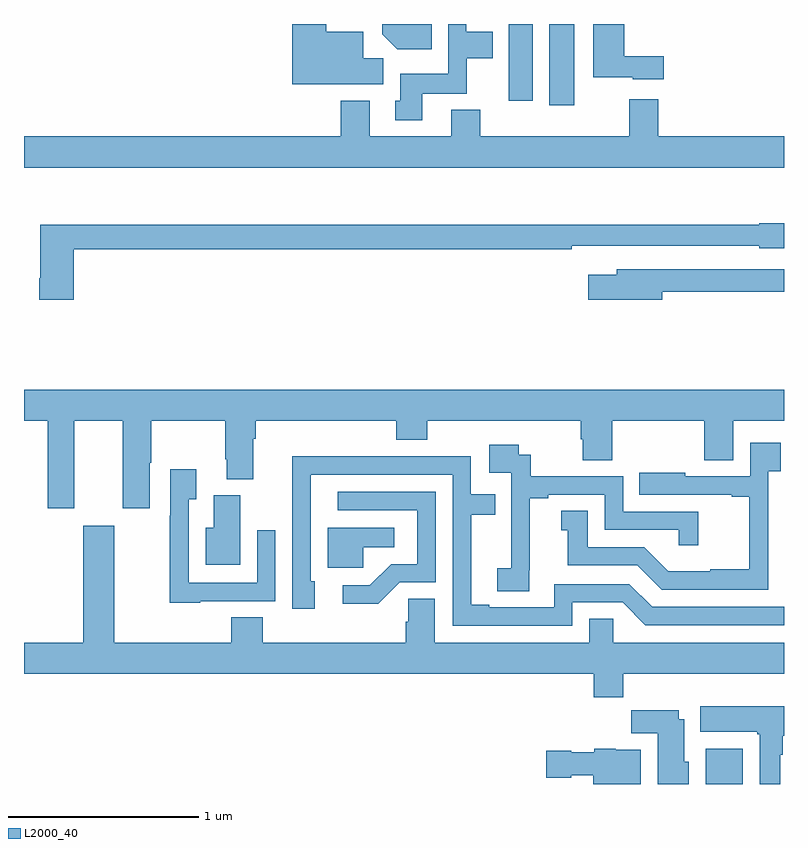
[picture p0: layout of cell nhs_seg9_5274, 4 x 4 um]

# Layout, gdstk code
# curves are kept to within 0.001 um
import gdstk
lib = gdstk.Library(unit=1e-6, precision=1e-09)
def R(c, l, rs):  # rectangles x0, y0, x1, y1
    for r in rs: c.add(gdstk.rectangle(r[:2], r[2:], *l))
def P(c, l, *ps):  # polygons
    for p in ps: c.add(gdstk.Polygon(p, *l))
L2000_40 = (2000, 40)

nhs_seg9_5274 = lib.new_cell('nhs_seg9_5274')
R(nhs_seg9_5274, L2000_40, [(420.587,1202.5,420.784,1202.686), (419.765,1206.072,419.896,1206.5), (419.552,1206.096,419.677,1206.5)])
P(nhs_seg9_5274, L2000_40, [(418.891,1206.32),(418.786,1206.32),(418.786,1206.46),(418.59,1206.46),(418.59,1206.5),(418.412,1206.5),(418.412,1206.182),(418.891,1206.182)],
  [(419.095,1206.134),(419.331,1206.134),(419.331,1206.32),(419.467,1206.32),(419.467,1206.46),(419.328,1206.46),(419.328,1206.5),(419.232,1206.5),(419.232,1206.238),(418.979,1206.238),(418.979,1206.096),(418.955,1206.096),(418.955,1205.994),(419.095,1205.994)],
  [(419.147,1206.5),(418.886,1206.5),(418.886,1206.446),(418.964,1206.368),(419.147,1206.368)],
  [(420.367,1206.331),(420.158,1206.331),(420.158,1206.5),(419.996,1206.5),(419.996,1206.221),(420.204,1206.221),(420.204,1206.209),(420.367,1206.209)],
  [(421,1205.908),(420.338,1205.908),(420.338,1206.103),(420.185,1206.103),(420.185,1205.908),(419.402,1205.908),(419.402,1206.049),(419.249,1206.049),(419.249,1205.908),(418.819,1205.908),(418.819,1206.097),(418.667,1206.097),(418.667,1205.908),(417,1205.908),(417,1205.744),(421,1205.744)],
  [(417.263,1205.314),(419.882,1205.314),(419.882,1205.334),(420.87,1205.334),(420.87,1205.321),(421,1205.321),(421,1205.451),(420.87,1205.451),(420.87,1205.443),(417.085,1205.443),(417.085,1205.161),(417.08,1205.161),(417.08,1205.049),(417.263,1205.049)],
  [(420.358,1205.092),(421,1205.092),(421,1205.208),(420.119,1205.208),(420.119,1205.179),(419.97,1205.179),(419.97,1205.05),(420.358,1205.05)],
  [(417.265,1204.412),(417.521,1204.412),(417.521,1203.951),(417.661,1203.951),(417.661,1204.19),(417.669,1204.19),(417.669,1204.412),(418.06,1204.412),(418.06,1204.21),(418.067,1204.21),(418.067,1204.105),(418.207,1204.105),(418.207,1204.316),(418.22,1204.316),(418.22,1204.412),(418.958,1204.412),(418.958,1204.313),(419.123,1204.313),(419.123,1204.412),(419.93,1204.412),(419.93,1204.314),(419.942,1204.314),(419.942,1204.204),(420.095,1204.204),(420.095,1204.412),(420.581,1204.412),(420.581,1204.204),(420.733,1204.204),(420.733,1204.412),(421,1204.412),(421,1204.576),(417,1204.576),(417,1204.412),(417.125,1204.412),(417.125,1203.951),(417.265,1203.951)],
  [(420.918,1204.145),(420.983,1204.145),(420.983,1204.297),(420.822,1204.297),(420.822,1204.119),(420.481,1204.119),(420.481,1204.138),(420.238,1204.138),(420.238,1204.023),(420.725,1204.023),(420.725,1204.011),(420.817,1204.011),(420.817,1203.631),(420.611,1203.631),(420.611,1203.619),(420.392,1203.619),(420.264,1203.747),(419.968,1203.747),(419.968,1203.938),(419.828,1203.938),(419.828,1203.835),(419.861,1203.835),(419.861,1203.651),(420.228,1203.651),(420.357,1203.522),(420.918,1203.522)],
  [(419.66,1203.625),(419.662,1203.625),(419.662,1204.003),(419.758,1204.003),(419.758,1204.023),(420.057,1204.023),(420.057,1203.837),(420.447,1203.837),(420.447,1203.756),(420.548,1203.756),(420.548,1203.933),(420.153,1203.933),(420.153,1204.119),(419.666,1204.119),(419.666,1204.233),(419.604,1204.233),(419.604,1204.285),(419.448,1204.285),(419.448,1204.137),(419.565,1204.137),(419.565,1203.833),(419.564,1203.833),(419.564,1203.636),(419.49,1203.636),(419.49,1203.514),(419.66,1203.514)],
  [(419.886,1203.456),(420.15,1203.456),(420.27,1203.336),(421,1203.336),(421,1203.432),(420.306,1203.432),(420.186,1203.552),(419.79,1203.552),(419.79,1203.429),(419.449,1203.429),(419.449,1203.444),(419.353,1203.444),(419.353,1203.918),(419.48,1203.918),(419.48,1204.026),(419.352,1204.026),(419.352,1204.224),(418.874,1204.224),(418.874,1204.226),(418.412,1204.226),(418.413,1203.423),(418.531,1203.423),(418.531,1203.567),(418.509,1203.567),(418.509,1204.128),(419.256,1204.128),(419.256,1203.333),(419.886,1203.333)],
  [(417.927,1203.462),(418.323,1203.462),(418.323,1203.835),(418.227,1203.835),(418.227,1203.558),(417.867,1203.558),(417.867,1204),(417.907,1204),(417.907,1204.156),(417.771,1204.156),(417.771,1203.911),(417.766,1203.911),(417.766,1203.455),(417.927,1203.455)],
  [(418.977,1203.561),(419.166,1203.561),(419.166,1204.038),(418.65,1204.038),(418.65,1203.942),(419.07,1203.942),(419.07,1203.657),(418.932,1203.657),(418.821,1203.546),(418.677,1203.546),(418.677,1203.449),(418.864,1203.449)],
  [(418.138,1204.02),(417.998,1204.02),(417.998,1203.85),(417.956,1203.85),(417.956,1203.653),(418.138,1203.653)],
  [(420.155,1203.08),(421,1203.08),(421,1203.244),(420.102,1203.244),(420.102,1203.371),(419.975,1203.371),(419.975,1203.244),(419.161,1203.244),(419.161,1203.476),(419.022,1203.476),(419.022,1203.353),(419.009,1203.353),(419.009,1203.244),(418.256,1203.244),(418.256,1203.377),(418.091,1203.377),(418.091,1203.244),(417.475,1203.244),(417.475,1203.859),(417.311,1203.859),(417.311,1203.244),(417,1203.244),(417,1203.08),(419.999,1203.08),(419.999,1202.956),(420.155,1202.956)],
  [(418.785,1203.746),(418.948,1203.746),(418.948,1203.85),(418.598,1203.85),(418.598,1203.639),(418.785,1203.639)],
  [(420.979,1202.654),(420.994,1202.654),(420.994,1202.754),(421,1202.754),(421,1202.908),(420.56,1202.908),(420.56,1202.774),(420.859,1202.774),(420.859,1202.761),(420.872,1202.761),(420.872,1202.5),(420.979,1202.5)],
  [(420.499,1202.616),(420.475,1202.616),(420.475,1202.842),(420.445,1202.842),(420.445,1202.887),(420.196,1202.887),(420.196,1202.768),(420.335,1202.768),(420.335,1202.5),(420.499,1202.5)],
  [(420.247,1202.68),(420.114,1202.68),(420.114,1202.686),(420,1202.686),(420,1202.668),(419.88,1202.668),(419.88,1202.676),(419.748,1202.676),(419.748,1202.534),(419.88,1202.534),(419.88,1202.546),(419.996,1202.546),(419.996,1202.5),(420.247,1202.5)])

lib.write_gds('nhs_seg9_5274.gds')
